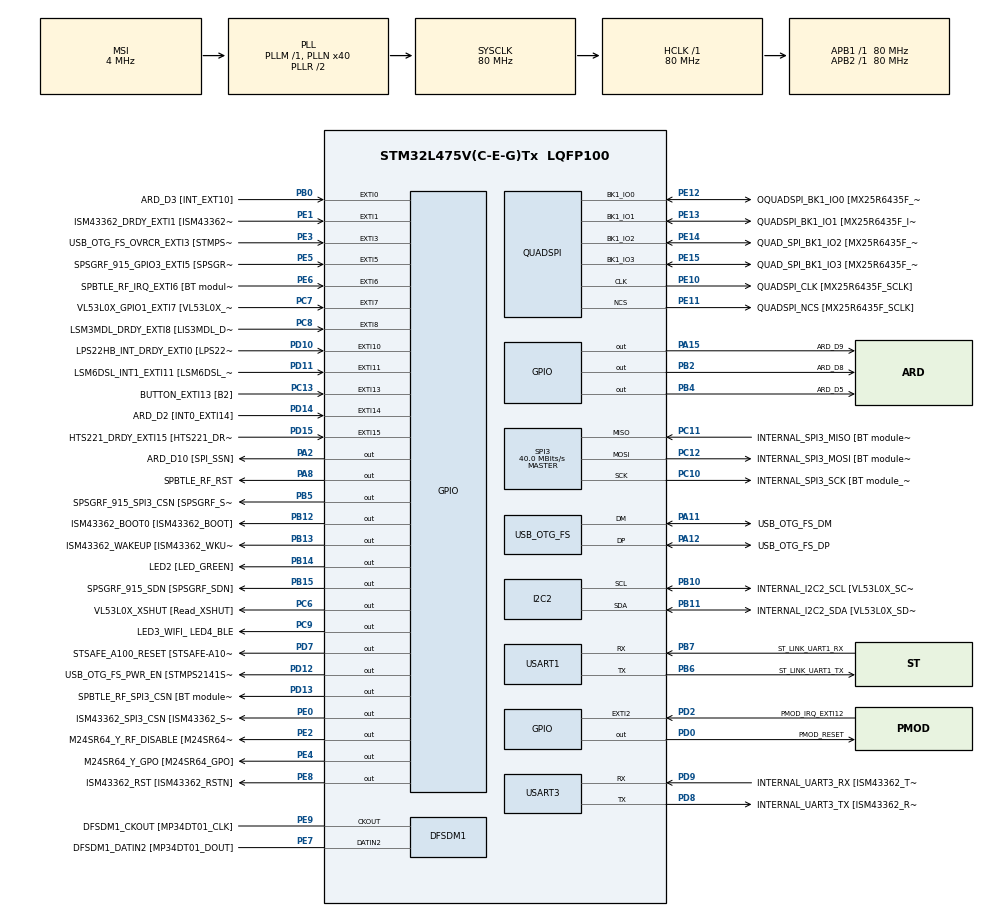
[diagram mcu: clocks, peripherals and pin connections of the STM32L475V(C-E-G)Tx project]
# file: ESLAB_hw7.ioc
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I2C2.Timing=0x10D19CE4
Mcu.Family=STM32L4
Mcu.Name=STM32L475V(C-E-G)Tx
Mcu.Package=LQFP100
NVIC.EXTI15_10_IRQn=true\:0\:0\:false\:false\:true\:true\:true\:true
NVIC.EXTI9_5_IRQn=true\:0\:0\:false\:false\:true\:true\:true\:true
NVIC.PriorityGroup=NVIC_PRIORITYGROUP_4
PA0.GPIO_Label=ARD_D1 [UART4_TX]
PA0.Signal=UART4_TX
PA1.GPIO_Label=ARD_D0 [UART4_RX]
PA1.Signal=UART4_RX
PA10.GPIO_Label=USB_OTG_FS_ID
PA10.Signal=USB_OTG_FS_ID
PA11.GPIO_Label=USB_OTG_FS_DM
PA11.Mode=Device_Only
PA11.Signal=USB_OTG_FS_DM
PA12.GPIO_Label=USB_OTG_FS_DP
PA12.Mode=Device_Only
PA12.Signal=USB_OTG_FS_DP
PA13\ (JTMS-SWDIO).GPIO_Label=SYS_JTMS_SWDIO
PA13\ (JTMS-SWDIO).Mode=Serial_Wire
PA13\ (JTMS-SWDIO).Signal=SYS_JTMS-SWDIO
PA14\ (JTCK-SWCLK).GPIO_Label=SYS_JTCK_SWCLK
PA14\ (JTCK-SWCLK).Mode=Serial_Wire
PA14\ (JTCK-SWCLK).Signal=SYS_JTCK-SWCLK
PA15\ (JTDI).GPIO_Label=ARD_D9
PA15\ (JTDI).Signal=GPIO_Output
PA2.GPIO_Label=ARD_D10 [SPI_SSN]
PA2.Signal=GPIO_Output
PA3.GPIO_Label=ARD_D4
PA3.Signal=S_TIM2_CH4
PA4.GPIO_Label=ARD_D7
PA4.Signal=ADCx_IN9
PA5.GPIO_Label=ARD_D13 [SPI1_SCK]
PA5.Signal=SPI1_SCK
PA6.GPIO_Label=ARD_D12 [SPI1_MISO]
PA6.Signal=SPI1_MISO
PA7.GPIO_Label=ARD_D11 [SPI1_MOSI]
PA7.Signal=SPI1_MOSI
PA8.GPIO_Label=SPBTLE_RF_RST
PA8.Signal=GPIO_Output
PA9.GPIO_Label=USB_OTG_FS_VBUS [STMPS2141STR_OUT]
PA9.Signal=USB_OTG_FS_VBUS
PB0.GPIO_Label=ARD_D3 [INT_EXT10]
PB0.Signal=GPXTI0
PB1.GPIO_Label=ARD_D6 [ADC1_IN6]
PB1.Signal=ADCx_IN16
PB10.GPIO_Label=INTERNAL_I2C2_SCL [VL53L0X_SCL]
PB10.GPIO_Pu=GPIO_PULLUP
PB10.Mode=I2C
PB10.Signal=I2C2_SCL
PB11.GPIO_Label=INTERNAL_I2C2_SDA [VL53L0X_SDA]
PB11.GPIO_Pu=GPIO_PULLUP
PB11.Mode=I2C
PB11.Signal=I2C2_SDA
PB12.GPIO_Label=ISM43362_BOOT0 [ISM43362_BOOT]
PB12.Signal=GPIO_Output
PB13.GPIO_Label=ISM43362_WAKEUP [ISM43362_WKUP]
PB13.Signal=GPIO_Output
PB14.GPIO_Label=LED2 [LED_GREEN]
PB14.Signal=GPIO_Output
PB15.GPIO_Label=SPSGRF_915_SDN [SPSGRF_SDN]
PB15.Signal=GPIO_Output
PB2.GPIO_Label=ARD_D8
PB2.Signal=GPIO_Output
PB3\ (JTDO-TRACESWO).GPIO_Label=SYS_JTD0_SWO
PB3\ (JTDO-TRACESWO).Signal=SYS_JTDO-SWO
PB4\ (NJTRST).GPIO_Label=ARD_D5
PB4\ (NJTRST).Signal=GPIO_Output
PB5.GPIO_Label=SPSGRF_915_SPI3_CSN [SPSGRF_SPI_CS]
PB5.PinState=GPIO_PIN_SET
PB5.Signal=GPIO_Output
PB6.GPIO_Label=ST_LINK_UART1_TX
PB6.Mode=Asynchronous
PB6.Signal=USART1_TX
PB7.GPIO_Label=ST_LINK_UART1_RX
PB7.Mode=Asynchronous
PB7.Signal=USART1_RX
PB8.GPIO_Label=ARD_D15 [I2C1_SCL]
PB8.Signal=I2C1_SCL
PB9.GPIO_Label=ARD_D14 [I2C1_SDA]
PB9.Signal=I2C1_SDA
PC0.GPIO_Label=ARD_A5 [ADC]
PC0.Signal=ADCx_IN1
PC1.GPIO_Label=ARD_A4 [ADC]
PC1.Signal=ADCx_IN2
PC10.GPIO_Label=INTERNAL_SPI3_SCK [BT module_SPI_SCLK] [ISM43362_SCK]
PC10.Mode=Full_Duplex_Master
PC10.Signal=SPI3_SCK
PC11.GPIO_Label=INTERNAL_SPI3_MISO [BT module_SPI_MISO] [ISM43362_MISO]
PC11.Mode=Full_Duplex_Master
PC11.Signal=SPI3_MISO
PC12.GPIO_Label=INTERNAL_SPI3_MOSI [BT module_SPI_MOSI] [ISM43362_MOSI]
PC12.Mode=Full_Duplex_Master
PC12.Signal=SPI3_MOSI
PC13.GPIO_Label=BUTTON_EXTI13 [B2]
PC13.GPIO_ModeDefaultEXTI=GPIO_MODE_IT_FALLING
PC13.Signal=GPXTI13
PC14-OSC32_IN\ (PC14).Mode=LSE-External-Oscillator
PC14-OSC32_IN\ (PC14).Signal=RCC_OSC32_IN
PC15-OSC32_OUT\ (PC15).Mode=LSE-External-Oscillator
PC15-OSC32_OUT\ (PC15).Signal=RCC_OSC32_OUT
PC2.GPIO_Label=ARD_A3 [ADC]
PC2.Signal=ADCx_IN3
PC3.GPIO_Label=ARD_A2 [ADC]
PC3.Signal=ADCx_IN4
PC4.GPIO_Label=ARD_A1 [ADC]
PC4.Signal=ADCx_IN13
PC5.GPIO_Label=ARD_A0 [ADC]
PC5.Signal=ADCx_IN14
PC6.GPIO_Label=VL53L0X_XSHUT [Read_XSHUT]
PC6.Signal=GPIO_Output
PC7.GPIO_Label=VL53L0X_GPIO1_EXTI7 [VL53L0X_GPIO1]
PC7.Signal=GPXTI7
PC8.GPIO_Label=LSM3MDL_DRDY_EXTI8 [LIS3MDL_DRDY]
PC8.Signal=GPXTI8
PC9.GPIO_Label=LED3_WIFI_ LED4_BLE
PC9.Signal=GPIO_Output
PD0.GPIO_Label=PMOD_RESET
PD0.Signal=GPIO_Output
PD1.GPIO_Label=PMOD_SPI2_SCK
PD1.Signal=SPI2_SCK
PD10.GPIO_Label=LPS22HB_INT_DRDY_EXTI0 [LPS22HB_INT_DRDY] 
PD10.Signal=GPXTI10
PD11.GPIO_Label=LSM6DSL_INT1_EXTI11 [LSM6DSL_INT1]
PD11.Signal=GPXTI11
PD12.GPIO_Label=USB_OTG_FS_PWR_EN [STMPS2141STR_EN]
PD12.Signal=GPIO_Output
PD13.GPIO_Label=SPBTLE_RF_SPI3_CSN [BT module_SPI_CS]
PD13.PinState=GPIO_PIN_SET
PD13.Signal=GPIO_Output
PD14.GPIO_Label=ARD_D2 [INT0_EXTI14]
PD14.Signal=GPXTI14
PD15.GPIO_Label=HTS221_DRDY_EXTI15 [HTS221_DRDY]
PD15.Signal=GPXTI15
PD2.GPIO_Label=PMOD_IRQ_EXTI12
PD2.Signal=GPXTI2
PD3.GPIO_Label=PMOD_UART2_CTS
PD3.Signal=USART2_CTS
PD4.GPIO_Label=PMOD_UART2_RTS
PD4.Signal=USART2_RTS
PD5.GPIO_Label=PMOD_UART2_TX
PD5.Signal=USART2_TX
PD6.GPIO_Label=PMOD_UART2_RX
PD6.Signal=USART2_RX
PD7.GPIO_Label=STSAFE_A100_RESET [STSAFE-A100_RESET]
PD7.Signal=GPIO_Output
PD8.GPIO_Label=INTERNAL_UART3_TX [ISM43362_RX]
PD8.Mode=Asynchronous
PD8.Signal=USART3_TX
PD9.GPIO_Label=INTERNAL_UART3_RX [ISM43362_TX]
PD9.Mode=Asynchronous
PD9.Signal=USART3_RX
PE0.GPIO_Label=ISM43362_SPI3_CSN [ISM43362_SSN]
PE0.PinState=GPIO_PIN_SET
PE0.Signal=GPIO_Output
PE1.GPIO_Label=ISM43362_DRDY_EXTI1 [ISM43362_DATARDY]
PE1.Signal=GPXTI1
PE10.GPIO_Label=QUADSPI_CLK [MX25R6435F_SCLK]
PE10.Mode=Single Bank
PE10.Signal=QUADSPI_CLK
PE11.GPIO_Label=QUADSPI_NCS [MX25R6435F_SCLK]
PE11.Mode=Single Bank
PE11.Signal=QUADSPI_NCS
PE12.GPIO_Label=OQUADSPI_BK1_IO0 [MX25R6435F_IO0]
PE12.Mode=Single Bank
PE12.Signal=QUADSPI_BK1_IO0
PE13.GPIO_Label=QUADSPI_BK1_IO1 [MX25R6435F_IO1]
PE13.Mode=Single Bank
PE13.Signal=QUADSPI_BK1_IO1
PE14.GPIO_Label=QUAD_SPI_BK1_IO2 [MX25R6435F_IO2]
PE14.Mode=Single Bank
PE14.Signal=QUADSPI_BK1_IO2
PE15.GPIO_Label=QUAD_SPI_BK1_IO3 [MX25R6435F_IO3]
PE15.Mode=Single Bank
PE15.Signal=QUADSPI_BK1_IO3
PE2.GPIO_Label=M24SR64_Y_RF_DISABLE [M24SR64_RFDIS]
PE2.Signal=GPIO_Output
PE3.GPIO_Label=USB_OTG_FS_OVRCR_EXTI3 [STMPS2141STR_FAULT]
PE3.Signal=GPXTI3
PE4.GPIO_Label=M24SR64_Y_GPO [M24SR64_GPO]
PE4.Signal=GPIO_Output
PE5.GPIO_Label=SPSGRF_915_GPIO3_EXTI5 [SPSGRF_GPIO_3]
PE5.Signal=GPXTI5
PE6.GPIO_Label=SPBTLE_RF_IRQ_EXTI6 [BT module_SPI_IRQ]
PE6.Signal=GPXTI6
PE7.GPIO_Label=DFSDM1_DATIN2 [MP34DT01_DOUT]
PE7.Signal=S_DATAIN2DFSDM1
PE8.GPIO_Label=ISM43362_RST [ISM43362_RSTN]
PE8.Signal=GPIO_Output
PE9.GPIO_Label=DFSDM1_CKOUT [MP34DT01_CLK]
PE9.Signal=S_CKOUTDFSDM1
ProjectManager.HeapSize=0x200
ProjectManager.StackSize=0x400
ProjectManager.TargetToolchain=STM32CubeIDE
QUADSPI.ClockPrescaler=2
QUADSPI.FifoThreshold=4
QUADSPI.FlashSize=23
QUADSPI.SampleShifting=QSPI_SAMPLE_SHIFTING_HALFCYCLE
RCC.ADCFreq_Value=48000000
RCC.AHBFreq_Value=80000000
RCC.APB1Freq_Value=80000000
RCC.APB1TimFreq_Value=80000000
RCC.APB2Freq_Value=80000000
RCC.APB2TimFreq_Value=80000000
RCC.CortexFreq_Value=80000000
RCC.HCLKFreq_Value=80000000
RCC.HSE_VALUE=8000000
RCC.HSI_VALUE=16000000
RCC.MSI_VALUE=4000000
RCC.PLLN=40
RCC.PLLSAI1N=24
RCC.SYSCLKFreq_VALUE=80000000
RCC.SYSCLKSource=RCC_SYSCLKSOURCE_PLLCLK
RCC.USBFreq_Value=48000000
RCC.VCOOutputFreq_Value=160000000
SH.ADCx_IN1.0=ADC1_IN1
SH.ADCx_IN13.0=ADC1_IN13
SH.ADCx_IN14.0=ADC1_IN14
SH.ADCx_IN16.0=ADC1_IN16
SH.ADCx_IN2.0=ADC1_IN2
SH.ADCx_IN3.0=ADC1_IN3
SH.ADCx_IN4.0=ADC1_IN4
SH.ADCx_IN9.0=ADC1_IN9
SH.S_CKOUTDFSDM1.0=DFSDM1_CKOUT,CKOUT
SH.S_CKOUTDFSDM1.1=DFSDM1_CKOUT,PDM_SPI_Input_from_ch12_and_Internal_Clock
SH.S_DATAIN2DFSDM1.0=DFSDM1_DATIN2,PDM_SPI_Input_from_ch12_and_Internal_Clock
SH.S_TIM2_CH4.0=TIM2_CH4
SPI3.CalculateBaudRate=40.0 MBits/s
SPI3.Direction=SPI_DIRECTION_2LINES
SPI3.Mode=SPI_MODE_MASTER
SPI3.VirtualType=VM_MASTER
USART1.VirtualMode-Asynchronous=VM_ASYNC
USART3.VirtualMode-Asynchronous=VM_ASYNC
USB_OTG_FS.VirtualMode=Device_Only
board=B-L475E-IOT01A1

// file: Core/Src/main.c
/* USER CODE BEGIN Header */
/**
  ******************************************************************************
  * @file           : main.c
  * @brief          : Main program body
  ******************************************************************************
  * @attention
  *
  * Copyright (c) 2026 STMicroelectronics.
  * All rights reserved.
  *
  * This software is licensed under terms that can be found in the LICENSE file
  * in the root directory of this software component.
  * If no LICENSE file comes with this software, it is provided AS-IS.
  *
  ******************************************************************************
  */
/* USER CODE END Header */
#include "main.h"

/* USER CODE BEGIN Includes */
#include "arm_math.h"
#include <math.h>
#include <stdint.h>
#include "stm32l475e_iot01_accelero.h"
#include <stdio.h>

/* USER CODE END Includes */

DFSDM_Channel_HandleTypeDef hdfsdm1_channel1;

I2C_HandleTypeDef hi2c2;

QSPI_HandleTypeDef hqspi;

SPI_HandleTypeDef hspi3;

UART_HandleTypeDef huart1;
UART_HandleTypeDef huart3;

PCD_HandleTypeDef hpcd_USB_OTG_FS;

/* USER CODE BEGIN PV */
#define FIR_NUM_TAPS 201U
#define FIR_TEST_SIZE 12U
#define FIR_SAMPLE_RATE_HZ 50.0f
#define FIR_SAMPLE_PERIOD_MS 20U
#define FIR_CUTOFF_HZ 1.0f
/* For this 201-tap Hamming-window design, this places the -3 dB point near 1 Hz. */
#define FIR_SINC_DESIGN_HZ (FIR_CUTOFF_HZ * 1.10f)
#define FIR_PI 3.14159265358979323846f

static float32_t firCoeffs[FIR_NUM_TAPS];
static uint32_t sampleDeadlineMs;
static uint32_t sampleTimestampMs;

static float32_t firTestState[FIR_NUM_TAPS + FIR_TEST_SIZE - 1U];

static float32_t firTestInput[FIR_TEST_SIZE] =
{
  1.0f, 0.0f, 0.0f, 0.0f, 0.0f, 0.0f,
  0.0f, 0.0f, 0.0f, 0.0f, 0.0f, 0.0f
};

static float32_t firTestOutput[FIR_TEST_SIZE];
static arm_fir_instance_f32 firTestInstance;
volatile uint32_t firTestPassed = 0U;

static float32_t firLiveState[FIR_NUM_TAPS];
static float32_t firLiveInput;
static float32_t firLiveOutput;
static arm_fir_instance_f32 firLiveInstance;

static int16_t accelXYZ[3];
static char uartMessage[80];
static int uartLength;
/* USER CODE END PV */

void SystemClock_Config(void);
static void MX_GPIO_Init(void);
static void MX_DFSDM1_Init(void);
static void MX_I2C2_Init(void);
static void MX_QUADSPI_Init(void);
static void MX_SPI3_Init(void);
static void MX_USART1_UART_Init(void);
static void MX_USART3_UART_Init(void);
static void MX_USB_OTG_FS_PCD_Init(void);

/* USER CODE BEGIN 0 */
static void FIR_DesignLowpass(void)
{
  uint32_t n;
  int32_t center = (int32_t)(FIR_NUM_TAPS - 1U) / 2;
  float32_t sum = 0.0f;
  float32_t normalizedCutoff = FIR_SINC_DESIGN_HZ / FIR_SAMPLE_RATE_HZ;

  /* Ideal low-pass sinc multiplied by a Hamming window. */
  for (n = 0U; n < FIR_NUM_TAPS; n++)
  {
    int32_t offset = (int32_t)n - center;
    float32_t ideal;
    float32_t window = 0.54f - 0.46f * cosf(2.0f * FIR_PI * (float32_t)n
                                           / (float32_t)(FIR_NUM_TAPS - 1U));

    if (offset == 0)
    {
      ideal = 2.0f * normalizedCutoff;
    }
    else
    {
      ideal = sinf(2.0f * FIR_PI * normalizedCutoff * (float32_t)offset)
              / (FIR_PI * (float32_t)offset);
    }

    firCoeffs[n] = ideal * window;
    sum += firCoeffs[n];
  }

  /* Normalize DC gain to one, so a constant acceleration stays unchanged. */
  for (n = 0U; n < FIR_NUM_TAPS; n++)
  {
    firCoeffs[n] /= sum;
  }
}

static void FIR_RunKnownSignalTest(void)
{
  uint32_t i;
  firTestPassed = 1U;

  arm_fir_init_f32(&firTestInstance,
                   FIR_NUM_TAPS,
                   firCoeffs,
                   firTestState,
                   FIR_TEST_SIZE);

  arm_fir_f32(&firTestInstance,
              firTestInput,
              firTestOutput,
              FIR_TEST_SIZE);

  for (i = 0U; i < FIR_TEST_SIZE; i++)
  {
    /* An impulse input should produce the FIR coefficient sequence. */
    if (fabsf(firTestOutput[i] - firCoeffs[i]) > 0.00001f)
    {
      firTestPassed = 0U;
    }
  }
}
/* USER CODE END 0 */

int main(void)
{

  /* MCU Configuration--------------------------------------------------------*/

  /* Reset of all peripherals, Initializes the Flash interface and the Systick. */
  HAL_Init();

  /* Configure the system clock */
  SystemClock_Config();

  /* Initialize all configured peripherals */
  MX_GPIO_Init();
  MX_DFSDM1_Init();
  MX_I2C2_Init();
  MX_QUADSPI_Init();
  MX_SPI3_Init();
  MX_USART1_UART_Init();
  MX_USART3_UART_Init();
  MX_USB_OTG_FS_PCD_Init();
  /* USER CODE BEGIN 2 */
  FIR_DesignLowpass();
  FIR_RunKnownSignalTest();

  uartLength = snprintf(uartMessage,
                        sizeof(uartMessage),
                        "# FIR impulse test: %s\r\n",
                        (firTestPassed != 0U) ? "PASS" : "FAIL");
  if (uartLength > 0 && uartLength < (int)sizeof(uartMessage))
  {
    HAL_UART_Transmit(&huart1,
                      (uint8_t *)uartMessage,
                      (uint16_t)uartLength,
                      HAL_MAX_DELAY);
  }

  uartLength = snprintf(uartMessage,
                        sizeof(uartMessage),
                        "time_ms,raw_x_mg,filtered_x_mg_x10\r\n");
  if (uartLength > 0 && uartLength < (int)sizeof(uartMessage))
  {
    HAL_UART_Transmit(&huart1,
                      (uint8_t *)uartMessage,
                      (uint16_t)uartLength,
                      HAL_MAX_DELAY);
  }

  if (BSP_ACCELERO_Init() != ACCELERO_OK)
  {
    Error_Handler();
  }

  arm_fir_init_f32(&firLiveInstance,
                   FIR_NUM_TAPS,
                   firCoeffs,
                   firLiveState,
                   1U);
  sampleDeadlineMs = HAL_GetTick();
  /* USER CODE END 2 */

  /* Infinite loop */
  while (1)
  {
	  BSP_ACCELERO_AccGetXYZ(accelXYZ);
	  sampleTimestampMs = HAL_GetTick();

	  /* xyz[0] 是 X 軸加速度，單位 mg */
	  firLiveInput = (float32_t)accelXYZ[0];

	  arm_fir_f32(&firLiveInstance,
	              &firLiveInput,
	              &firLiveOutput,
	              1U);

	  /* Send timestamp (ms), raw X (mg), and filtered X in 0.1 mg units. */
	  uartLength = snprintf(uartMessage,
	                        sizeof(uartMessage),
	                        "%lu,%d,%ld\r\n",
	                        (unsigned long)sampleTimestampMs,
	                        (int)accelXYZ[0],
	                        (long)((int32_t)(firLiveOutput * 10.0f)));

	  if (uartLength > 0 && uartLength < (int)sizeof(uartMessage))
	  {
	    HAL_UART_Transmit(&huart1,
	                      (uint8_t *)uartMessage,
	                      (uint16_t)uartLength,
	                      HAL_MAX_DELAY);
	  }

	  /* Keep a nominal 50 Hz sample cadence (20 ms per sample). */
	  sampleDeadlineMs += FIR_SAMPLE_PERIOD_MS;
	  if ((int32_t)(sampleDeadlineMs - HAL_GetTick()) > 0)
	  {
	    HAL_Delay(sampleDeadlineMs - HAL_GetTick());
	  }
	  else
	  {
	    /* If output/processing took too long, restart the schedule from now. */
	    sampleDeadlineMs = HAL_GetTick();
	  }
  }
}

void SystemClock_Config(void)
{
  RCC_OscInitTypeDef RCC_OscInitStruct = {0};
  RCC_ClkInitTypeDef RCC_ClkInitStruct = {0};

  /** Configure the main internal regulator output voltage
  */
  if (HAL_PWREx_ControlVoltageScaling(PWR_REGULATOR_VOLTAGE_SCALE1) != HAL_OK)
  {
    Error_Handler();
  }

  /** Configure LSE Drive Capability
  */
  HAL_PWR_EnableBkUpAccess();
  __HAL_RCC_LSEDRIVE_CONFIG(RCC_LSEDRIVE_LOW);

  /** Initializes the RCC Oscillators according to the specified parameters
  * in the RCC_OscInitTypeDef structure.
  */
  RCC_OscInitStruct.OscillatorType = RCC_OSCILLATORTYPE_LSE|RCC_OSCILLATORTYPE_MSI;
  RCC_OscInitStruct.LSEState = RCC_LSE_ON;
  RCC_OscInitStruct.MSIState = RCC_MSI_ON;
  RCC_OscInitStruct.MSICalibrationValue = 0;
  RCC_OscInitStruct.MSIClockRange = RCC_MSIRANGE_6;
  RCC_OscInitStruct.PLL.PLLState = RCC_PLL_ON;
  RCC_OscInitStruct.PLL.PLLSource = RCC_PLLSOURCE_MSI;
  RCC_OscInitStruct.PLL.PLLM = 1;
  RCC_OscInitStruct.PLL.PLLN = 40;
  RCC_OscInitStruct.PLL.PLLP = RCC_PLLP_DIV7;
  RCC_OscInitStruct.PLL.PLLQ = RCC_PLLQ_DIV2;
  RCC_OscInitStruct.PLL.PLLR = RCC_PLLR_DIV2;
  if (HAL_RCC_OscConfig(&RCC_OscInitStruct) != HAL_OK)
  {
    Error_Handler();
  }

  /** Initializes the CPU, AHB and APB buses clocks
  */
  RCC_ClkInitStruct.ClockType = RCC_CLOCKTYPE_HCLK|RCC_CLOCKTYPE_SYSCLK
                              |RCC_CLOCKTYPE_PCLK1|RCC_CLOCKTYPE_PCLK2;
  RCC_ClkInitStruct.SYSCLKSource = RCC_SYSCLKSOURCE_PLLCLK;
  RCC_ClkInitStruct.AHBCLKDivider = RCC_SYSCLK_DIV1;
  RCC_ClkInitStruct.APB1CLKDivider = RCC_HCLK_DIV1;
  RCC_ClkInitStruct.APB2CLKDivider = RCC_HCLK_DIV1;

  if (HAL_RCC_ClockConfig(&RCC_ClkInitStruct, FLASH_LATENCY_4) != HAL_OK)
  {
    Error_Handler();
  }

  /** Enable MSI Auto calibration
  */
  HAL_RCCEx_EnableMSIPLLMode();
}

static void MX_DFSDM1_Init(void)
{

  hdfsdm1_channel1.Instance = DFSDM1_Channel1;
  hdfsdm1_channel1.Init.OutputClock.Activation = ENABLE;
  hdfsdm1_channel1.Init.OutputClock.Selection = DFSDM_CHANNEL_OUTPUT_CLOCK_SYSTEM;
  hdfsdm1_channel1.Init.OutputClock.Divider = 2;
  hdfsdm1_channel1.Init.Input.Multiplexer = DFSDM_CHANNEL_EXTERNAL_INPUTS;
  hdfsdm1_channel1.Init.Input.DataPacking = DFSDM_CHANNEL_STANDARD_MODE;
  hdfsdm1_channel1.Init.Input.Pins = DFSDM_CHANNEL_FOLLOWING_CHANNEL_PINS;
  hdfsdm1_channel1.Init.SerialInterface.Type = DFSDM_CHANNEL_SPI_RISING;
  hdfsdm1_channel1.Init.SerialInterface.SpiClock = DFSDM_CHANNEL_SPI_CLOCK_INTERNAL;
  hdfsdm1_channel1.Init.Awd.FilterOrder = DFSDM_CHANNEL_FASTSINC_ORDER;
  hdfsdm1_channel1.Init.Awd.Oversampling = 1;
  hdfsdm1_channel1.Init.Offset = 0;
  hdfsdm1_channel1.Init.RightBitShift = 0x00;
  if (HAL_DFSDM_ChannelInit(&hdfsdm1_channel1) != HAL_OK)
  {
    Error_Handler();
  }

}

static void MX_I2C2_Init(void)
{

  hi2c2.Instance = I2C2;
  hi2c2.Init.Timing = 0x10D19CE4;
  hi2c2.Init.OwnAddress1 = 0;
  hi2c2.Init.AddressingMode = I2C_ADDRESSINGMODE_7BIT;
  hi2c2.Init.DualAddressMode = I2C_DUALADDRESS_DISABLE;
  hi2c2.Init.OwnAddress2 = 0;
  hi2c2.Init.OwnAddress2Masks = I2C_OA2_NOMASK;
  hi2c2.Init.GeneralCallMode = I2C_GENERALCALL_DISABLE;
  hi2c2.Init.NoStretchMode = I2C_NOSTRETCH_DISABLE;
  if (HAL_I2C_Init(&hi2c2) != HAL_OK)
  {
    Error_Handler();
  }

  /** Configure Analogue filter
  */
  if (HAL_I2CEx_ConfigAnalogFilter(&hi2c2, I2C_ANALOGFILTER_ENABLE) != HAL_OK)
  {
    Error_Handler();
  }

  /** Configure Digital filter
  */
  if (HAL_I2CEx_ConfigDigitalFilter(&hi2c2, 0) != HAL_OK)
  {
    Error_Handler();
  }

}

static void MX_QUADSPI_Init(void)
{

  /* QUADSPI parameter configuration*/
  hqspi.Instance = QUADSPI;
  hqspi.Init.ClockPrescaler = 2;
  hqspi.Init.FifoThreshold = 4;
  hqspi.Init.SampleShifting = QSPI_SAMPLE_SHIFTING_HALFCYCLE;
  hqspi.Init.FlashSize = 23;
  hqspi.Init.ChipSelectHighTime = QSPI_CS_HIGH_TIME_1_CYCLE;
  hqspi.Init.ClockMode = QSPI_CLOCK_MODE_0;
  if (HAL_QSPI_Init(&hqspi) != HAL_OK)
  {
    Error_Handler();
  }

}

static void MX_SPI3_Init(void)
{

  /* SPI3 parameter configuration*/
  hspi3.Instance = SPI3;
  hspi3.Init.Mode = SPI_MODE_MASTER;
  hspi3.Init.Direction = SPI_DIRECTION_2LINES;
  hspi3.Init.DataSize = SPI_DATASIZE_4BIT;
  hspi3.Init.CLKPolarity = SPI_POLARITY_LOW;
  hspi3.Init.CLKPhase = SPI_PHASE_1EDGE;
  hspi3.Init.NSS = SPI_NSS_SOFT;
  hspi3.Init.BaudRatePrescaler = SPI_BAUDRATEPRESCALER_2;
  hspi3.Init.FirstBit = SPI_FIRSTBIT_MSB;
  hspi3.Init.TIMode = SPI_TIMODE_DISABLE;
  hspi3.Init.CRCCalculation = SPI_CRCCALCULATION_DISABLE;
  hspi3.Init.CRCPolynomial = 7;
  hspi3.Init.CRCLength = SPI_CRC_LENGTH_DATASIZE;
  hspi3.Init.NSSPMode = SPI_NSS_PULSE_ENABLE;
  if (HAL_SPI_Init(&hspi3) != HAL_OK)
  {
    Error_Handler();
  }

}

static void MX_USART1_UART_Init(void)
{

  huart1.Instance = USART1;
  huart1.Init.BaudRate = 115200;
  huart1.Init.WordLength = UART_WORDLENGTH_8B;
  huart1.Init.StopBits = UART_STOPBITS_1;
  huart1.Init.Parity = UART_PARITY_NONE;
  huart1.Init.Mode = UART_MODE_TX_RX;
  huart1.Init.HwFlowCtl = UART_HWCONTROL_NONE;
  huart1.Init.OverSampling = UART_OVERSAMPLING_16;
  huart1.Init.OneBitSampling = UART_ONE_BIT_SAMPLE_DISABLE;
  huart1.AdvancedInit.AdvFeatureInit = UART_ADVFEATURE_NO_INIT;
  if (HAL_UART_Init(&huart1) != HAL_OK)
  {
    Error_Handler();
  }

}

static void MX_USART3_UART_Init(void)
{

  huart3.Instance = USART3;
  huart3.Init.BaudRate = 115200;
  huart3.Init.WordLength = UART_WORDLENGTH_8B;
  huart3.Init.StopBits = UART_STOPBITS_1;
  huart3.Init.Parity = UART_PARITY_NONE;
  huart3.Init.Mode = UART_MODE_TX_RX;
  huart3.Init.HwFlowCtl = UART_HWCONTROL_NONE;
  huart3.Init.OverSampling = UART_OVERSAMPLING_16;
  huart3.Init.OneBitSampling = UART_ONE_BIT_SAMPLE_DISABLE;
  huart3.AdvancedInit.AdvFeatureInit = UART_ADVFEATURE_NO_INIT;
  if (HAL_UART_Init(&huart3) != HAL_OK)
  {
    Error_Handler();
  }

}

static void MX_USB_OTG_FS_PCD_Init(void)
{

  hpcd_USB_OTG_FS.Instance = USB_OTG_FS;
  hpcd_USB_OTG_FS.Init.dev_endpoints = 6;
  hpcd_USB_OTG_FS.Init.speed = PCD_SPEED_FULL;
  hpcd_USB_OTG_FS.Init.phy_itface = PCD_PHY_EMBEDDED;
  hpcd_USB_OTG_FS.Init.Sof_enable = DISABLE;
  hpcd_USB_OTG_FS.Init.low_power_enable = DISABLE;
  hpcd_USB_OTG_FS.Init.lpm_enable = DISABLE;
  hpcd_USB_OTG_FS.Init.battery_charging_enable = DISABLE;
  hpcd_USB_OTG_FS.Init.use_dedicated_ep1 = DISABLE;
  hpcd_USB_OTG_FS.Init.vbus_sensing_enable = DISABLE;
  if (HAL_PCD_Init(&hpcd_USB_OTG_FS) != HAL_OK)
  {
    Error_Handler();
  }

}

static void MX_GPIO_Init(void)
{
  GPIO_InitTypeDef GPIO_InitStruct = {0};

  /* GPIO Ports Clock Enable */
  __HAL_RCC_GPIOE_CLK_ENABLE();
  __HAL_RCC_GPIOC_CLK_ENABLE();
  __HAL_RCC_GPIOA_CLK_ENABLE();
  __HAL_RCC_GPIOB_CLK_ENABLE();
  __HAL_RCC_GPIOD_CLK_ENABLE();

  /*Configure GPIO pin Output Level */
  HAL_GPIO_WritePin(GPIOE, M24SR64_Y_RF_DISABLE_Pin|M24SR64_Y_GPO_Pin|ISM43362_RST_Pin, GPIO_PIN_RESET);

  /*Configure GPIO pin Output Level */
  HAL_GPIO_WritePin(GPIOA, ARD_D10_Pin|SPBTLE_RF_RST_Pin|ARD_D9_Pin, GPIO_PIN_RESET);

  /*Configure GPIO pin Output Level */
  HAL_GPIO_WritePin(GPIOB, ARD_D8_Pin|ISM43362_BOOT0_Pin|ISM43362_WAKEUP_Pin|LED2_Pin
                          |SPSGRF_915_SDN_Pin|ARD_D5_Pin, GPIO_PIN_RESET);

  /*Configure GPIO pin Output Level */
  HAL_GPIO_WritePin(GPIOD, USB_OTG_FS_PWR_EN_Pin|PMOD_RESET_Pin|STSAFE_A100_RESET_Pin, GPIO_PIN_RESET);

  /*Configure GPIO pin Output Level */
  HAL_GPIO_WritePin(SPBTLE_RF_SPI3_CSN_GPIO_Port, SPBTLE_RF_SPI3_CSN_Pin, GPIO_PIN_SET);

  /*Configure GPIO pin Output Level */
  HAL_GPIO_WritePin(GPIOC, VL53L0X_XSHUT_Pin|LED3_WIFI__LED4_BLE_Pin, GPIO_PIN_RESET);

  /*Configure GPIO pin Output Level */
  HAL_GPIO_WritePin(SPSGRF_915_SPI3_CSN_GPIO_Port, SPSGRF_915_SPI3_CSN_Pin, GPIO_PIN_SET);

  /*Configure GPIO pin Output Level */
  HAL_GPIO_WritePin(ISM43362_SPI3_CSN_GPIO_Port, ISM43362_SPI3_CSN_Pin, GPIO_PIN_SET);

  /*Configure GPIO pins : M24SR64_Y_RF_DISABLE_Pin M24SR64_Y_GPO_Pin ISM43362_RST_Pin ISM43362_SPI3_CSN_Pin */
  GPIO_InitStruct.Pin = M24SR64_Y_RF_DISABLE_Pin|M24SR64_Y_GPO_Pin|ISM43362_RST_Pin|ISM43362_SPI3_CSN_Pin;
  GPIO_InitStruct.Mode = GPIO_MODE_OUTPUT_PP;
  GPIO_InitStruct.Pull = GPIO_NOPULL;
  GPIO_InitStruct.Speed = GPIO_SPEED_FREQ_LOW;
  HAL_GPIO_Init(GPIOE, &GPIO_InitStruct);

  /*Configure GPIO pins : USB_OTG_FS_OVRCR_EXTI3_Pin SPSGRF_915_GPIO3_EXTI5_Pin SPBTLE_RF_IRQ_EXTI6_Pin ISM43362_DRDY_EXTI1_Pin */
  GPIO_InitStruct.Pin = USB_OTG_FS_OVRCR_EXTI3_Pin|SPSGRF_915_GPIO3_EXTI5_Pin|SPBTLE_RF_IRQ_EXTI6_Pin|ISM43362_DRDY_EXTI1_Pin;
  GPIO_InitStruct.Mode = GPIO_MODE_IT_RISING;
  GPIO_InitStruct.Pull = GPIO_NOPULL;
  HAL_GPIO_Init(GPIOE, &GPIO_InitStruct);

  /*Configure GPIO pin : BUTTON_EXTI13_Pin */
  GPIO_InitStruct.Pin = BUTTON_EXTI13_Pin;
  GPIO_InitStruct.Mode = GPIO_MODE_IT_FALLING;
  GPIO_InitStruct.Pull = GPIO_NOPULL;
  HAL_GPIO_Init(BUTTON_EXTI13_GPIO_Port, &GPIO_InitStruct);

  /*Configure GPIO pins : ARD_A5_Pin ARD_A4_Pin ARD_A3_Pin ARD_A2_Pin
                           ARD_A1_Pin ARD_A0_Pin */
  GPIO_InitStruct.Pin = ARD_A5_Pin|ARD_A4_Pin|ARD_A3_Pin|ARD_A2_Pin
                          |ARD_A1_Pin|ARD_A0_Pin;
  GPIO_InitStruct.Mode = GPIO_MODE_ANALOG_ADC_CONTROL;
  GPIO_InitStruct.Pull = GPIO_NOPULL;
  HAL_GPIO_Init(GPIOC, &GPIO_InitStruct);

  /*Configure GPIO pins : ARD_D1_Pin ARD_D0_Pin */
  GPIO_InitStruct.Pin = ARD_D1_Pin|ARD_D0_Pin;
  GPIO_InitStruct.Mode = GPIO_MODE_AF_PP;
  GPIO_InitStruct.Pull = GPIO_NOPULL;
  GPIO_InitStruct.Speed = GPIO_SPEED_FREQ_VERY_HIGH;
  GPIO_InitStruct.Alternate = GPIO_AF8_UART4;
  HAL_GPIO_Init(GPIOA, &GPIO_InitStruct);

  /*Configure GPIO pins : ARD_D10_Pin SPBTLE_RF_RST_Pin ARD_D9_Pin */
  GPIO_InitStruct.Pin = ARD_D10_Pin|SPBTLE_RF_RST_Pin|ARD_D9_Pin;
  GPIO_InitStruct.Mode = GPIO_MODE_OUTPUT_PP;
  GPIO_InitStruct.Pull = GPIO_NOPULL;
  GPIO_InitStruct.Speed = GPIO_SPEED_FREQ_LOW;
  HAL_GPIO_Init(GPIOA, &GPIO_InitStruct);

  /*Configure GPIO pin : ARD_D4_Pin */
  GPIO_InitStruct.Pin = ARD_D4_Pin;
  GPIO_InitStruct.Mode = GPIO_MODE_AF_PP;
  GPIO_InitStruct.Pull = GPIO_NOPULL;
  GPIO_InitStruct.Speed = GPIO_SPEED_FREQ_LOW;
  GPIO_InitStruct.Alternate = GPIO_AF1_TIM2;
  HAL_GPIO_Init(ARD_D4_GPIO_Port, &GPIO_InitStruct);

  /*Configure GPIO pin : ARD_D7_Pin */
  GPIO_InitStruct.Pin = ARD_D7_Pin;
  GPIO_InitStruct.Mode = GPIO_MODE_ANALOG_ADC_CONTROL;
  GPIO_InitStruct.Pull = GPIO_NOPULL;
  HAL_GPIO_Init(ARD_D7_GPIO_Port, &GPIO_InitStruct);

  /*Configure GPIO pins : ARD_D13_Pin ARD_D12_Pin ARD_D11_Pin */
  GPIO_InitStruct.Pin = ARD_D13_Pin|ARD_D12_Pin|ARD_D11_Pin;
  GPIO_InitStruct.Mode = GPIO_MODE_AF_PP;
  GPIO_InitStruct.Pull = GPIO_NOPULL;
  GPIO_InitStruct.Speed = GPIO_SPEED_FREQ_VERY_HIGH;
  GPIO_InitStruct.Alternate = GPIO_AF5_SPI1;
  HAL_GPIO_Init(GPIOA, &GPIO_InitStruct);

  /*Configure GPIO pin : ARD_D3_Pin */
  GPIO_InitStruct.Pin = ARD_D3_Pin;
  GPIO_InitStruct.Mode = GPIO_MODE_IT_RISING;
  GPIO_InitStruct.Pull = GPIO_NOPULL;
  HAL_GPIO_Init(ARD_D3_GPIO_Port, &GPIO_InitStruct);

  /*Configure GPIO pin : ARD_D6_Pin */
  GPIO_InitStruct.Pin = ARD_D6_Pin;
  GPIO_InitStruct.Mode = GPIO_MODE_ANALOG_ADC_CONTROL;
  GPIO_InitStruct.Pull = GPIO_NOPULL;
  HAL_GPIO_Init(ARD_D6_GPIO_Port, &GPIO_InitStruct);

  /*Configure GPIO pins : ARD_D8_Pin ISM43362_BOOT0_Pin ISM43362_WAKEUP_Pin LED2_Pin
                           SPSGRF_915_SDN_Pin ARD_D5_Pin SPSGRF_915_SPI3_CSN_Pin */
  GPIO_InitStruct.Pin = ARD_D8_Pin|ISM43362_BOOT0_Pin|ISM43362_WAKEUP_Pin|LED2_Pin
                          |SPSGRF_915_SDN_Pin|ARD_D5_Pin|SPSGRF_915_SPI3_CSN_Pin;
  GPIO_InitStruct.Mode = GPIO_MODE_OUTPUT_PP;
  GPIO_InitStruct.Pull = GPIO_NOPULL;
  GPIO_InitStruct.Speed = GPIO_SPEED_FREQ_LOW;
  HAL_GPIO_Init(GPIOB, &GPIO_InitStruct);

  /*Configure GPIO pins : LPS22HB_INT_DRDY_EXTI0_Pin LSM6DSL_INT1_EXTI11_Pin ARD_D2_Pin HTS221_DRDY_EXTI15_Pin
                           PMOD_IRQ_EXTI12_Pin */
  GPIO_InitStruct.Pin = LPS22HB_INT_DRDY_EXTI0_Pin|LSM6DSL_INT1_EXTI11_Pin|ARD_D2_Pin|HTS221_DRDY_EXTI15_Pin
                          |PMOD_IRQ_EXTI12_Pin;
  GPIO_InitStruct.Mode = GPIO_MODE_IT_RISING;
  GPIO_InitStruct.Pull = GPIO_NOPULL;
  HAL_GPIO_Init(GPIOD, &GPIO_InitStruct);

  /*Configure GPIO pins : USB_OTG_FS_PWR_EN_Pin SPBTLE_RF_SPI3_CSN_Pin PMOD_RESET_Pin STSAFE_A100_RESET_Pin */
  GPIO_InitStruct.Pin = USB_OTG_FS_PWR_EN_Pin|SPBTLE_RF_SPI3_CSN_Pin|PMOD_RESET_Pin|STSAFE_A100_RESET_Pin;
  GPIO_InitStruct.Mode = GPIO_MODE_OUTPUT_PP;
  GPIO_InitStruct.Pull = GPIO_NOPULL;
  GPIO_InitStruct.Speed = GPIO_SPEED_FREQ_LOW;
  HAL_GPIO_Init(GPIOD, &GPIO_InitStruct);

  /*Configure GPIO pins : VL53L0X_XSHUT_Pin LED3_WIFI__LED4_BLE_Pin */
  GPIO_InitStruct.Pin = VL53L0X_XSHUT_Pin|LED3_WIFI__LED4_BLE_Pin;
  GPIO_InitStruct.Mode = GPIO_MODE_OUTPUT_PP;
  GPIO_InitStruct.Pull = GPIO_NOPULL;
  GPIO_InitStruct.Speed = GPIO_SPEED_FREQ_LOW;
  HAL_GPIO_Init(GPIOC, &GPIO_InitStruct);

  /*Configure GPIO pins : VL53L0X_GPIO1_EXTI7_Pin LSM3MDL_DRDY_EXTI8_Pin */
  GPIO_InitStruct.Pin = VL53L0X_GPIO1_EXTI7_Pin|LSM3MDL_DRDY_EXTI8_Pin;
  GPIO_InitStruct.Mode = GPIO_MODE_IT_RISING;
  GPIO_InitStruct.Pull = GPIO_NOPULL;
  HAL_GPIO_Init(GPIOC, &GPIO_InitStruct);

  /*Configure GPIO pin : PMOD_SPI2_SCK_Pin */
  GPIO_InitStruct.Pin = PMOD_SPI2_SCK_Pin;
  GPIO_InitStruct.Mode = GPIO_MODE_AF_PP;
  GPIO_InitStruct.Pull = GPIO_NOPULL;
  GPIO_InitStruct.Speed = GPIO_SPEED_FREQ_VERY_HIGH;
  GPIO_InitStruct.Alternate = GPIO_AF5_SPI2;
  HAL_GPIO_Init(PMOD_SPI2_SCK_GPIO_Port, &GPIO_InitStruct);

  /*Configure GPIO pins : PMOD_UART2_CTS_Pin PMOD_UART2_RTS_Pin PMOD_UART2_TX_Pin PMOD_UART2_RX_Pin */
  GPIO_InitStruct.Pin = PMOD_UART2_CTS_Pin|PMOD_UART2_RTS_Pin|PMOD_UART2_TX_Pin|PMOD_UART2_RX_Pin;
  GPIO_InitStruct.Mode = GPIO_MODE_AF_PP;
  GPIO_InitStruct.Pull = GPIO_NOPULL;
  GPIO_InitStruct.Speed = GPIO_SPEED_FREQ_VERY_HIGH;
  GPIO_InitStruct.Alternate = GPIO_AF7_USART2;
  HAL_GPIO_Init(GPIOD, &GPIO_InitStruct);

  /*Configure GPIO pins : ARD_D15_Pin ARD_D14_Pin */
  GPIO_InitStruct.Pin = ARD_D15_Pin|ARD_D14_Pin;
  GPIO_InitStruct.Mode = GPIO_MODE_AF_OD;
  GPIO_InitStruct.Pull = GPIO_NOPULL;
  GPIO_InitStruct.Speed = GPIO_SPEED_FREQ_VERY_HIGH;
  GPIO_InitStruct.Alternate = GPIO_AF4_I2C1;
  HAL_GPIO_Init(GPIOB, &GPIO_InitStruct);

  /* EXTI interrupt init*/
  HAL_NVIC_SetPriority(EXTI9_5_IRQn, 0, 0);
  HAL_NVIC_EnableIRQ(EXTI9_5_IRQn);

  HAL_NVIC_SetPriority(EXTI15_10_IRQn, 0, 0);
  HAL_NVIC_EnableIRQ(EXTI15_10_IRQn);

}

void Error_Handler(void)
{
  __disable_irq();
  while (1)
  {
  }
}
